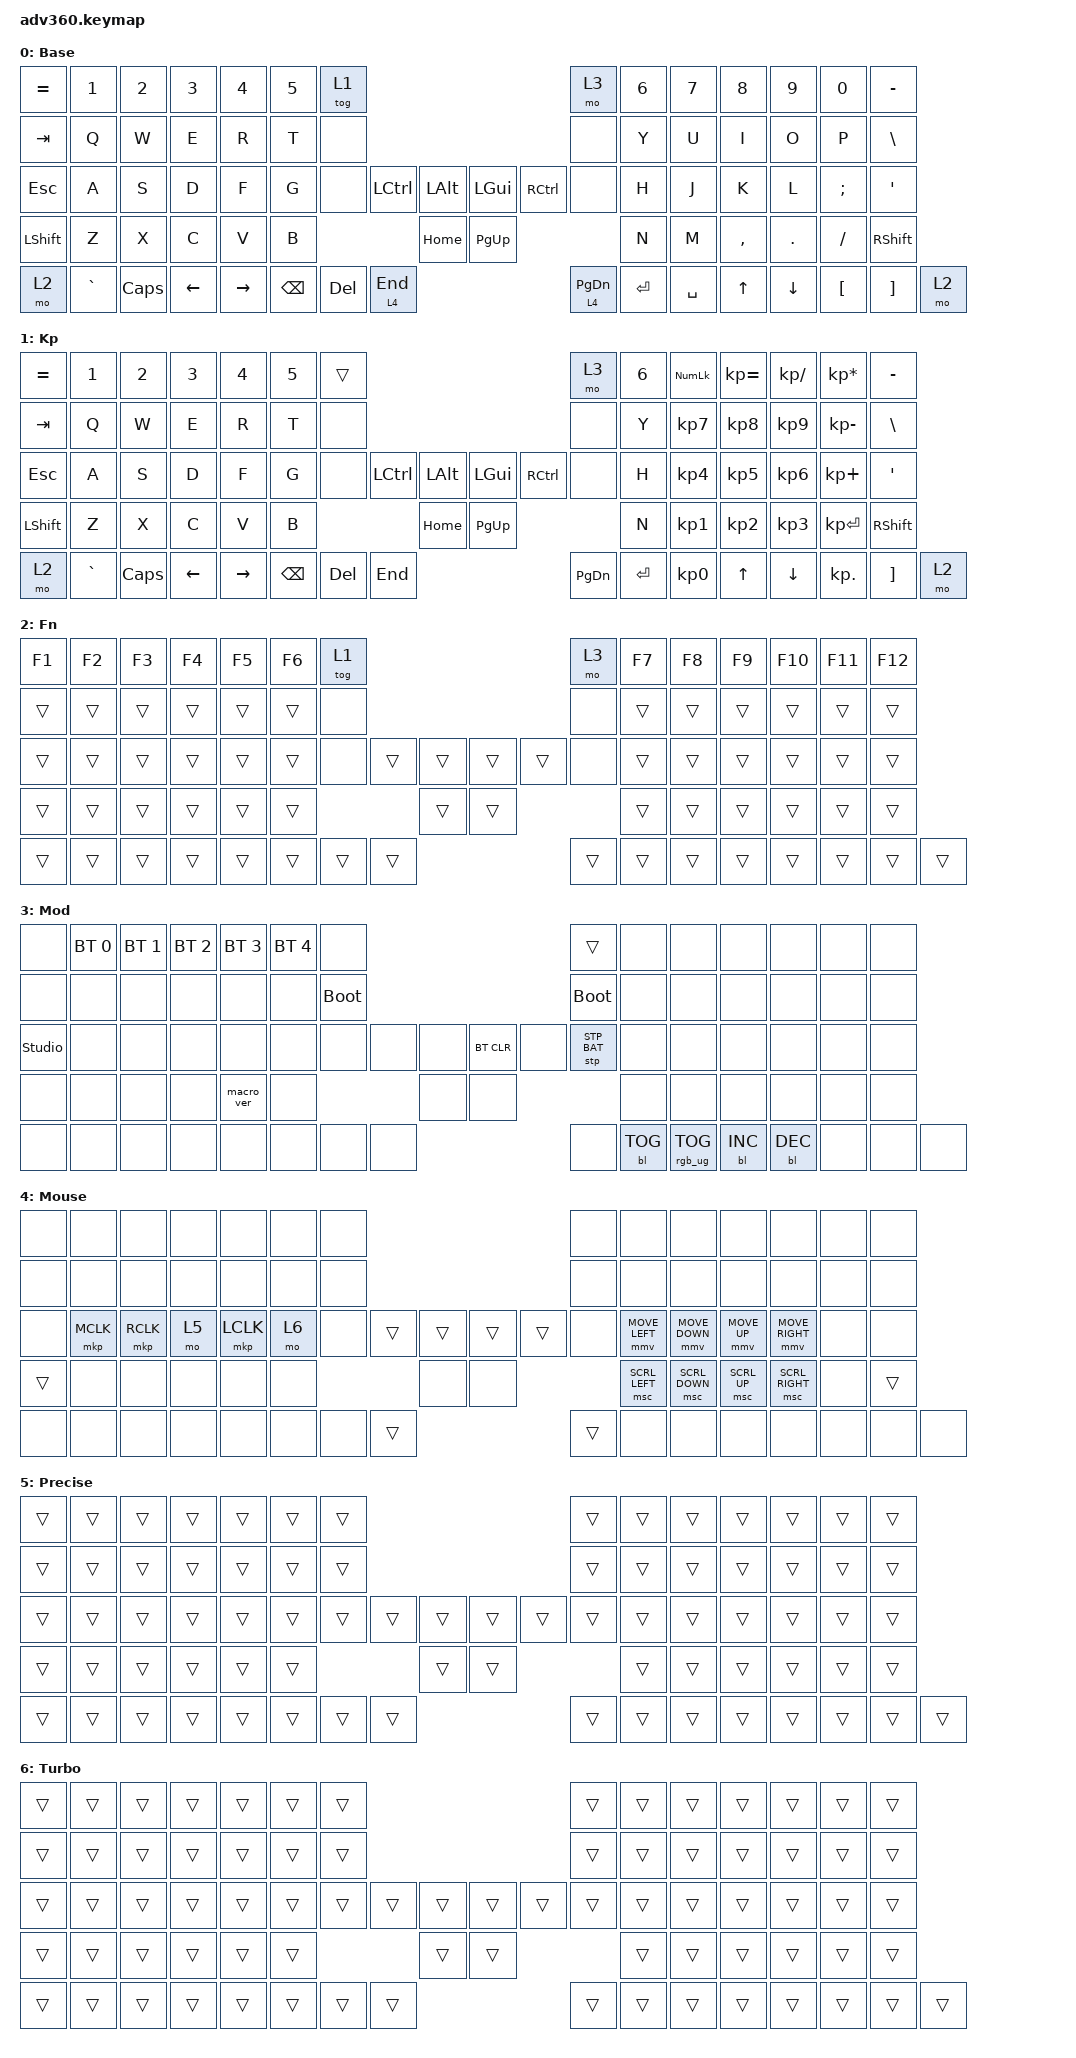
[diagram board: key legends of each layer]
#define ZMK_POINTING_DEFAULT_MOVE_VAL 1500
#define ZMK_POINTING_DEFAULT_SCRL_VAL 20
#include <behaviors.dtsi>
#include <dt-bindings/zmk/keys.h>
#include <dt-bindings/zmk/bt.h>
#include <dt-bindings/zmk/rgb.h>
#include <dt-bindings/zmk/stp.h>
#include <dt-bindings/zmk/backlight.h>
#include <dt-bindings/zmk/pointing.h>
#include <input/processors.dtsi>

&lt {
  flavor = "hold-preferred";
  tapping-term-ms = <150>;
};

&mmv {
  time-to-max-speed-ms = <150>;
};

&mmv_input_listener {
  precise {
    layers = <5>;
    input-processors = <&zip_xy_scaler 1 10>;
  };
  turbo {
    layers = <6>;
    input-processors = <&zip_xy_scaler 2 1>;
  };
};

/ {
    behaviors {
      #include "macros.dtsi"
      #include "version.dtsi"

      hm: homerow_mods {
          compatible = "zmk,behavior-hold-tap";
          label = "HOMEROW_MODS";
          #binding-cells = <2>;
          tapping-term-ms = <200>;
          quick_tap_ms = <175>;
          flavor = "tap-preferred";
          bindings = <&kp>, <&kp>;
      };
    };

  keymap {
    compatible = "zmk,keymap";

    default_layer {
      display-name = "Base";
      bindings = <
        &kp EQUAL &kp N1    &kp N2   &kp N3   &kp N4     &kp N5 &tog 1                                                           &mo 3 &kp N6 &kp N7 &kp N8    &kp N9   &kp N0   &kp MINUS
        &kp TAB   &kp Q     &kp W    &kp E    &kp R      &kp T  &none                                                            &none &kp Y  &kp U  &kp I     &kp O    &kp P    &kp BSLH
        &kp ESC   &kp A     &kp S    &kp D    &kp F      &kp G  &none           &kp LCTRL &kp LALT &kp LGUI  &kp RCTRL           &none &kp H  &kp J  &kp K     &kp L    &kp SEMI &kp SQT
        &kp LSHFT &kp Z     &kp X    &kp C    &kp V      &kp B                            &kp HOME &kp PG_UP                           &kp N  &kp M  &kp COMMA &kp DOT  &kp FSLH &kp RSHFT
        &mo 2     &kp GRAVE &kp CAPS &kp LEFT &kp RIGHT                &kp BSPC &kp DEL   &lt 4 END  &lt 4 PG_DN &kp ENTER &kp SPACE              &kp UP &kp DOWN  &kp LBKT &kp RBKT &mo 2
      >;
    };
    keypad {
      display-name = "Kp";
      bindings = <
        &kp EQUAL &kp N1    &kp N2   &kp N3   &kp N4     &kp N5 &trans                                                           &mo 3 &kp N6 &kp KP_NUM &kp KP_EQUAL &kp KP_DIVIDE &kp KP_MULTIPLY &kp MINUS
        &kp TAB   &kp Q     &kp W    &kp E    &kp R      &kp T  &none                                                            &none &kp Y  &kp KP_N7  &kp KP_N8    &kp KP_N9     &kp KP_MINUS    &kp BSLH
        &kp ESC   &kp A     &kp S    &kp D    &kp F      &kp G  &none           &kp LCTRL &kp LALT &kp LGUI  &kp RCTRL           &none &kp H  &kp KP_N4  &kp KP_N5    &kp KP_N6     &kp KP_PLUS     &kp SQT
        &kp LSHFT &kp Z     &kp X    &kp C    &kp V      &kp B                            &kp HOME &kp PG_UP                           &kp N  &kp KP_N1  &kp KP_N2    &kp KP_N3     &kp KP_ENTER    &kp RSHFT
        &mo 2     &kp GRAVE &kp CAPS &kp LEFT &kp RIGHT                &kp BSPC &kp DEL   &kp END  &kp PG_DN &kp ENTER &kp KP_N0              &kp UP     &kp DOWN     &kp KP_DOT    &kp RBKT        &mo 2
     >;
    };
    fn {
      display-name = "Fn";
      bindings = <
        &kp F1 &kp F2 &kp F3 &kp F4 &kp F5 &kp F6 &tog 1                                           &mo 3 &kp F7 &kp F8 &kp F9 &kp F10 &kp F11 &kp F12
        &trans &trans &trans &trans &trans &trans  &none                                           &none &trans &trans &trans &trans  &trans  &trans
        &trans &trans &trans &trans &trans &trans  &none        &trans &trans &trans &trans        &none &trans &trans &trans &trans  &trans  &trans
        &trans &trans &trans &trans &trans &trans                      &trans &trans                     &trans &trans &trans &trans  &trans  &trans
        &trans &trans &trans &trans &trans               &trans &trans &trans &trans &trans &trans              &trans &trans &trans  &trans  &trans
      >;
    };
    mod {
      display-name = "Mod";
      bindings = <
        &none &bt BT_SEL 0 &bt BT_SEL 1 &bt BT_SEL 2 &bt BT_SEL 3 &bt BT_SEL 4 &none                                                                     &trans                 &none        &none        &none        &none &none &none
        &none &none        &none        &none        &none        &none        &bootloader                                                               &bootloader            &none        &none        &none        &none &none &none
        &studio_unlock &none        &none        &none        &none        &none        &none                   &none &none &bt BT_CLR &none                      &stp STP_BAT &none        &none        &none        &none &none &none
        &none &none        &none        &none        &macro_ver   &none                                      &none &none                                                        &none        &none        &none        &none &none &none
        &none &none        &none        &none        &none                                       &none &none &none &none      &bl BL_TOG &rgb_ug RGB_TOG                                     &bl BL_INC   &bl BL_DEC   &none &none &none
      >;
    };
    mouse {
      display-name = "Mouse";
      bindings = <
        &none  &none     &none     &none &none     &none &none                                         &none &none          &none          &none        &none           &none &none
        &none  &none     &none     &none &none     &none &none                                         &none &none          &none          &none        &none           &none &none
        &none  &mkp MCLK &mkp RCLK &mo 5 &mkp LCLK &mo 6 &none        &trans &trans &trans &trans      &none &mmv MOVE_LEFT &mmv MOVE_DOWN &mmv MOVE_UP &mmv MOVE_RIGHT &none &none
        &trans &none     &none     &none &none     &none                     &none  &none                    &msc SCRL_LEFT &msc SCRL_DOWN &msc SCRL_UP &msc SCRL_RIGHT &none &trans
        &none  &none     &none     &none &none                  &none &none  &trans &trans &none &none                      &none          &none        &none           &none &none
      >;
    };

    mouse_precise {
      display-name = "Precise";
      bindings = <
        &trans &trans &trans &trans &trans &trans &trans &trans &trans &trans &trans &trans &trans &trans
        &trans &trans &trans &trans &trans &trans &trans &trans &trans &trans &trans &trans &trans &trans
        &trans &trans &trans &trans &trans &trans &trans &trans &trans &trans &trans &trans &trans &trans &trans &trans &trans &trans
        &trans &trans &trans &trans &trans &trans &trans &trans &trans &trans &trans &trans &trans &trans
        &trans &trans &trans &trans &trans &trans &trans &trans &trans &trans &trans &trans &trans &trans &trans &trans
      >;
    };

    mouse_turbo {
      display-name = "Turbo";
      bindings = <
        &trans &trans &trans &trans &trans &trans &trans &trans &trans &trans &trans &trans &trans &trans
        &trans &trans &trans &trans &trans &trans &trans &trans &trans &trans &trans &trans &trans &trans
        &trans &trans &trans &trans &trans &trans &trans &trans &trans &trans &trans &trans &trans &trans &trans &trans &trans &trans
        &trans &trans &trans &trans &trans &trans &trans &trans &trans &trans &trans &trans &trans &trans
        &trans &trans &trans &trans &trans &trans &trans &trans &trans &trans &trans &trans &trans &trans &trans &trans
      >;
    };
    extra4 { 
      display-name = "Yellow";    
      status = "reserved";
    };
  };
};
